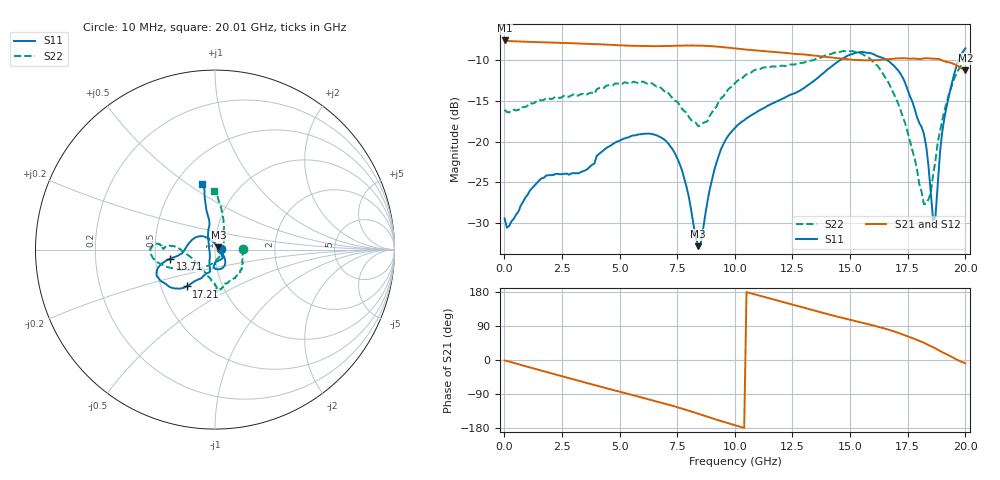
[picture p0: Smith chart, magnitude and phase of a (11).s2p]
! Hittite Microwave Corporation
! 2 Elizabeth Drive
! Chelmsford, MA 01824
! http://www.hittite.com
! Tel: 978-250-3343
! Fax: 978-250-3373
! Device:  HMC424LP3
! Description: 0.5 dB GaAs MMIC 6-Bit Digital Attenuator
! Frequency:  DC -  13.00 GHz
! Package:  LP3  - 3x3 mm Quad Flatpack No-Lead (QFN) Plastic Package: 16 pin
! Ports:  2 RF, 7 DC
!  Pad  1  = Ground
!  Pad  2  = RF IN  = Port 1
!  Pad  3  = Ground
!  Pad  4  = V6
!  Pad  5  = V5
!  Pad  6  = V4
!  Pad  7  = V3
!  Pad  8  = V2
!  Pad  9  = V1
!  Pad 10  = Ground
!  Pad 11  = RF OUT  = Port 2
!  Pad 12  = Ground
!  Pad 15  = VEE
! Control:  -5 Volt control voltage
! State:  10
! Attenuation:  5.0 dB
! Voltages:  Vdd = -5.00 Volts  Idd =  -2.437 mA
!  V1  = 0.00 Volts  I1  =  29.0 uA
!  V2  = -5.00 Volts  I2  =  -1.0 uA
!  V3  = 0.00 Volts  I3  =  29.0 uA
!  V4  = -5.00 Volts  I4  =  -1.0 uA
!  V5  = 0.00 Volts  I5  =  30.0 uA
!  V6  = 0.00 Volts  I6  =  30.0 uA
! Data:  The device was measured on evaluation board 105354-1.
!  Data was collected using a calibrated network analyzer.
!  The evaluation circuit board was modeled and simulated.  This was use
!  to removed the evaluation board circuit from the measured data.
!  The reference plane is the edge of the package pin.
! Misc:  Lot xxxx, Unit 1
!  Application 20120001, Data collected in Application 20090083
! Date Measured:  2009-09-15
! Date:  2012-05-14  MJV
! Note:
!  Hittite supplies this data as a sample of measured data at the package pin
!  for this product.  Your particular data for this product may vary.
!  Data was taken at 25 degrees C.
!  Hittite reserves the right to change this data at anytime.
# GHz S MA R 50
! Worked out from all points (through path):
!   201 points, 10 MHz to 20.01 GHz, reference 50 ohm
!   highest |S21| = -7.57 dB at 10 MHz (marker M1); lowest = -11.2 dB at 20.01 GHz (marker M2)
!   group delay of S21, straight-line fit = 48.5 ps
!   lowest |S11| = -32.8 dB at 8.41 GHz (marker M3), VSWR 1.05, Z = 52 + j1.25 ohm
!   |S11| at or under -10 dB: start of sweep to 14.56 GHz; 16.62 GHz to 19.72 GHz (3.099 GHz wide, 17.1 % of centre)
!   |S22| runs from -27.7 to -8.9 dB; largest |S21 - S12| = 0.0019
!   S11 on the Smith chart (normalised r, x): 10 MHz: 1.07, +0.01; 13.71 GHz: 0.60, -0.06; 17.21 GHz: 0.67, -0.30; 20.01 GHz: 0.67, +0.57
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0.01  0.0338 10.4  0.4185 -1.3  0.4166 -1.3  0.1573 1.2
0.21  0.0304 -11.1  0.415 -4.2  0.4145 -4.1  0.1513 -5.7
1.61  0.05957 -44.9  0.4078 -28.0  0.4073 -28.1  0.179 -31.8
3.41  0.06589 -77.6  0.4 -57.9  0.3997 -57.9  0.1968 -62.1
4.91  0.1004 -94.5  0.3914 -82.3  0.3906 -82.3  0.2278 -83.6
6.71  0.1078 -63.6  0.3867 -110.9  0.3859 -110.9  0.2184 -87.9
7.71  0.06676 -39.0  0.3892 -128.3  0.3885 -128.3  0.1592 -101.1
8.41  0.02284 31.7  0.389 -141.6  0.3883 -141.6  0.1245 -132.3
9.21  0.07461 122.4  0.3839 -157.3  0.3835 -157.3  0.1645 -173.9
10.01  0.1217 143.9  0.3742 -172.2  0.3737 -172.2  0.2286 175.2
13.41  0.2348 -169.5  0.3389 131.2  0.3381 131.3  0.3168 174.0
13.71  0.2545 -168.6  0.3355 126.3  0.3347 126.3  0.3277 174.5
15.51  0.3561 -155.5  0.3165 98.7  0.3161 98.7  0.3473 -171.7
16.71  0.3102 -135.6  0.3215 79.4  0.3211 79.4  0.2249 -150.4
17.21  0.2588 -127.6  0.3256 69.1  0.325 69.1  0.1542 -134.1
18.21  0.1114 -104.8  0.325 45.5  0.3246 45.5  0.0413 -43.5
18.61  0.03298 -153.3  0.3237 33.7  0.3233 33.7  0.06282 38.9
18.71  0.0345 165.2  0.3236 30.7  0.3232 30.7  0.0764 48.4
18.91  0.08654 116.9  0.3203 23.7  0.32 23.7  0.1161 65.1
19.11  0.1431 102.2  0.311 17.5  0.3107 17.5  0.1567 72.3
19.61  0.2865 101.3  0.2959 1.9  0.2954 1.9  0.26 84.2
20.01  0.3747 101.0  0.2739 -8.9  0.2742 -8.8  0.3243 90.7
